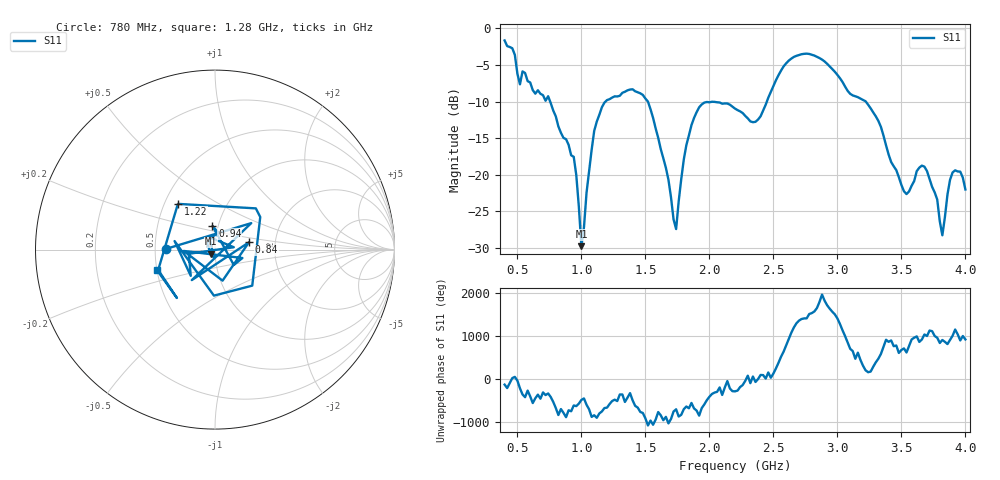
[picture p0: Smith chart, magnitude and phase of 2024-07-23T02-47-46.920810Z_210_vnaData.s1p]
!Created with skrf (http://scikit-rf.org).
# Hz S RI R 50.0
!freq ReS11 ImS11
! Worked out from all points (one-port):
!   181 points, 400 MHz to 4 GHz, reference 50 ohm
!   lowest |S11| = -29.8 dB at 1 GHz (marker M1), VSWR 1.07, Z = 47.8 - j2.24 ohm
!   |S11| at or under -10 dB: 755.6 MHz to 1.189 GHz (433.2 MHz wide, 44.6 % of centre); 1.519 GHz to 2.449 GHz (929.7 MHz wide, 46.9 % of centre); 3.221 GHz to end of sweep
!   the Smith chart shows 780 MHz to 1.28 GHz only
!   S11 on the Smith chart (normalised r, x): 780 MHz: 0.57, +0.00; 840 MHz: 1.46, +0.12; 940 MHz: 0.94, +0.25; 1.22 GHz: 0.59, +0.33; 1.28 GHz: 0.50, -0.13
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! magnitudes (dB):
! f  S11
! 400 MHz  -1.6
! 520 MHz  -7.7
! 780 MHz  -11.2
! 840 MHz  -14.3
! 860 MHz  -15.0
! 940 MHz  -17.6
! 1 GHz  -29.8
! 1.1 GHz  -14.0
! 1.22 GHz  -9.7
! 1.28 GHz  -9.3
! 1.3 GHz  -9.2
! 1.52 GHz  -10.0
! 1.74 GHz  -27.5
! 1.76 GHz  -23.7
! 1.82 GHz  -16.0
! 1.92 GHz  -10.8
! 2.2 GHz  -11.0
! 2.36 GHz  -12.8
! 2.66 GHz  -3.9
! 2.88 GHz  -4.3
! 3.1 GHz  -8.9
! 3.3 GHz  -12.0
! 3.56 GHz  -22.3
! 3.68 GHz  -18.9
! 3.78 GHz  -23.4
! 3.82 GHz  -28.3
! 3.9 GHz  -19.7
! 4 GHz  -22.0
